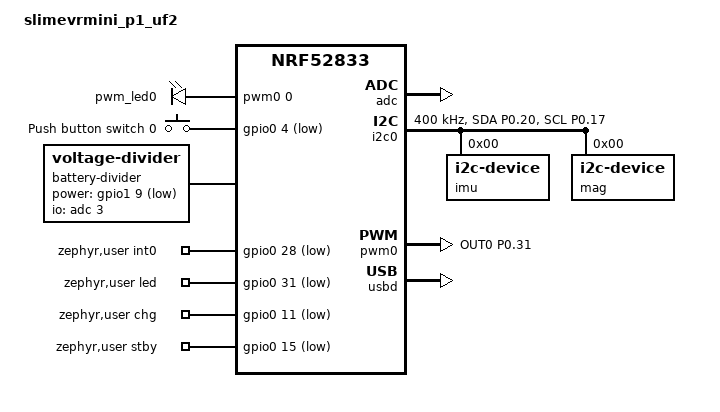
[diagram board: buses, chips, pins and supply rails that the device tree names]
// Copyright (c) 2024 Nordic Semiconductor ASA
// SPDX-License-Identifier: Apache-2.0

/dts-v1/;
#include <nordic/nrf52833_qdaa.dtsi>

//move to dtsi?
&pinctrl {
	i2c0_default: i2c0_default {
		group1 {
			psels = <NRF_PSEL(TWIM_SDA, 0, 20)>, <NRF_PSEL(TWIM_SCL, 0, 17)>;
			bias-disable;
		};
	};

	i2c0_sleep: i2c0_sleep {
		group1 {
			psels = <NRF_PSEL(TWIM_SDA, 0, 20)>, <NRF_PSEL(TWIM_SCL, 0, 17)>;
			bias-disable;
			low-power-enable;
		};
	};

	pwm0_default: pwm0_default {
		group1 {
			psels = <NRF_PSEL(PWM_OUT0, 0, 31)>;
		};
	};

	pwm0_sleep: pwm0_sleep {
		group1 {
			psels = <NRF_PSEL(PWM_OUT0, 0, 31)>;
			low-power-enable;
		};
	};
};
//end

/ {
	model = "slimevrmini_p1_uf2";
	compatible = "slimevrmini_p1_uf2";

	chosen {
		zephyr,sram = &sram0;
		zephyr,flash = &flash0;
		zephyr,code-partition = &slot0_partition;
		zephyr,console = &cdc_acm_uart0;
		zephyr,shell-uart = &cdc_acm_uart0;
	};

	pwmleds {
		compatible = "pwm-leds";
		pwm_led0: pwm_led_0 {
			pwms = <&pwm0 0 PWM_MSEC(1) PWM_POLARITY_INVERTED>;
		};
	};

	buttons {
		compatible = "gpio-keys";
		button0: button_0 {
			gpios = <&gpio0 4 (GPIO_PULL_UP | GPIO_ACTIVE_LOW)>;
			label = "Push button switch 0";
		};
	};

	aliases {
		sw0 = &button0;
	};

	battery-divider {
		compatible = "voltage-divider";
		status = "okay";
		io-channels = <&adc 3>;
		output-ohms = <40200>;
		full-ohms = <(1000000+40200)>;
		power-gpios = <&gpio1 9 (GPIO_OPEN_DRAIN | GPIO_ACTIVE_LOW)>;
	};

	zephyr,user {
		int0-gpios = <&gpio0 28 (GPIO_ACTIVE_LOW | GPIO_PULL_UP)>;
		led-gpios = <&gpio0 31 (GPIO_OPEN_DRAIN | GPIO_ACTIVE_LOW)>;
		chg-gpios = <&gpio0 11 (GPIO_ACTIVE_LOW | GPIO_PULL_UP)>;
		stby-gpios = <&gpio0 15 (GPIO_ACTIVE_LOW | GPIO_PULL_UP)>;
	};

};

&flash0 {
	partitions {
		compatible = "fixed-partitions";
		#address-cells = <1>;
		#size-cells = <1>;

		boot_partition: partition@0 {
			label = "mcuboot";
			reg = <0x0 0xc000>;
		};
		slot0_partition: partition@c000 {
			label = "image-0";
			reg = <0xc000 0x37000>;
		};
		slot1_partition: partition@43000 {
			label = "image-1";
			reg = <0x43000 0x37000>;
		};
		scratch_partition: partition@7a000 {
			label = "image-scratch";
			reg = <0x7a000 0x2000>;
		};
		storage_partition: partition@7c000 {
			label = "storage";
			reg = <0x7c000 0x4000>;
		};
		// size limt is 0x80_000 (512KB)
	};
};

&adc {
	status = "okay";
};

&gpiote {
	status = "okay";
};

&gpio0 {
	status = "okay";
};

&gpio1 {
	status = "okay";
};

&i2c0 {
	compatible = "nordic,nrf-twim";
	status = "okay";
	zephyr,concat-buf-size = <255>; // probable max for nrf52832
	zephyr,flash-buf-max-size = <255>; // probable max for nrf52832
	clock-frequency = <I2C_BITRATE_FAST>;
	pinctrl-0 = <&i2c0_default>;
	pinctrl-1 = <&i2c0_sleep>;
	pinctrl-names = "default", "sleep";

	imu: imu@0 { // any address out of range (00, 7f, etc. will search all addresses and stored address first if available, specify an address here to search first otherwise
		compatible = "i2c-device";
		label = "imu";
		reg = <0>;
	};

	mag: mag@0 {
		compatible = "i2c-device";
		label = "mag";
		reg = <0>;
	};

};

&pwm0 {
	status = "okay";
	pinctrl-0 = <&pwm0_default>;
	pinctrl-1 = <&pwm0_sleep>;
	pinctrl-names = "default", "sleep";
};

zephyr_udc0: &usbd {
	compatible = "nordic,nrf-usbd";
	status = "okay";
	cdc_acm_uart0: cdc_acm_uart0 {
		compatible = "zephyr,cdc-acm-uart";
	};
};

&nfct {
	status = "disabled";
};
